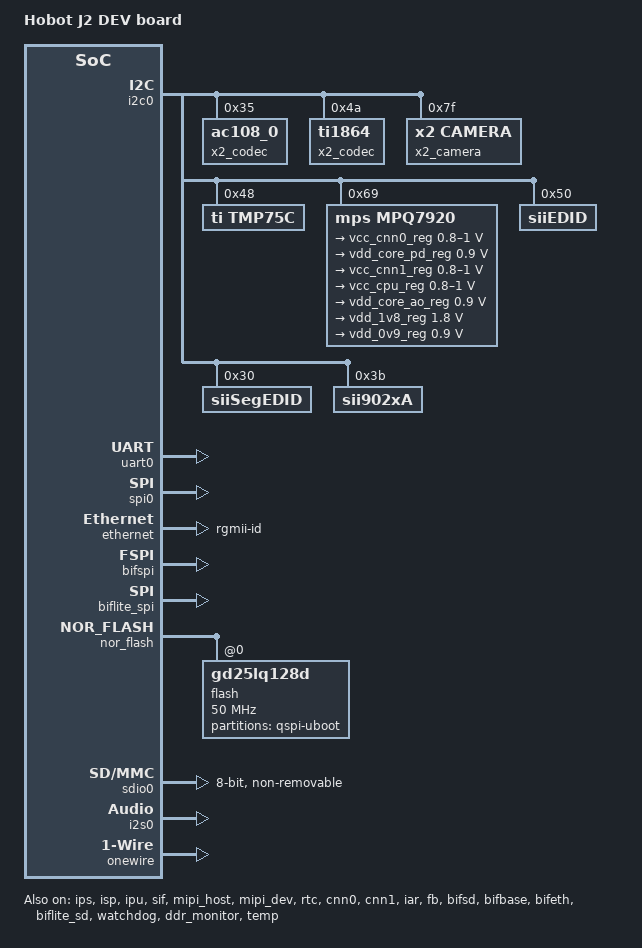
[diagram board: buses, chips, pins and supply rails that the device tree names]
/*
 * dts file for Hobot X2 FPGA
 *
 * (C) Copyright 2018, Horizon, Inc.
 *
 *
 * This program is free software; you can redistribute it and/or
 * modify it under the terms of the GNU General Public License as
 * published by the Free Software Foundation; either version 2 of
 * the License, or (at your option) any later version.
 */

/dts-v1/;
#include "hobot.dtsi"
#include "hobot-pinctrl.dtsi"
#include "hobot-clk.dtsi"
#include "memory.dtsi"
#include <dt-bindings/gpio/gpio.h>
#include <dt-bindings/phy/phy.h>

/ {
	reserved-memory {
		#address-cells = <2>;
		#size-cells = <2>;
		ranges;

		/*Reserved 4M memory for ipu problem*/
		ipu_nouse_reserved: ipu_nouse_reserved@0x00000000 {
			reg = <0x0 0x00000000 0x0 0x00400000>;
			no-map;
		};
		/*Reserved 8M memory for isp_subsystem*/
		isp_reserved: isp_reserved@0x02100000 {
			reg = <0x0 0x02100000 0x0 0x00800000>;
		};

		/*Reserved 32M memory for iar subsystem*/
		iar_reserved: iar_reserved@0x02900000 {
			reg = <0x0 0x02900000 0x0 0x2000000>;
			no-map;
		};

		/* Reserved 384MB memory for bpu+vio*/
		ion_reserved: ion_reserved@0x4900000 {
			compatible = "ion-pool";
			reg = <0x0 0x4900000 0x0 0x18000000>;
		};
	};
};


/ {
	model = "Hobot J2 DEV board";
	compatible = "hobot,x2-fpga";

	aliases {
		serial0 = &uart0;
		serial1 = &uart1;
		serial2 = &uart2;
		serial3 = &uart3;
		i2c0	= &i2c0;
		i2c1	= &i2c1;
		i2c2	= &i2c2;
		i2c3	= &i2c3;
		i2s0	= &i2s0;
		i2s1	= &i2s1;
		pwm0	= &pwm_0;
		pwm1	= &pwm_1;
		pwm2	= &pwm_2;
		spi0	= &spi0;
		bifsd	= &bifsd;
		bifspi	= &bifspi;
		mmc1	= &sdio0;
		mmc2	= &sdio1;
		sndcard0    = &snd0;
		idma0     = &i2sidma0;

	};

	chosen {
		bootargs = "earlycon loglevel=8 console=ttyS0 clk_ignore_unused";
		stdout-path = "serial0:115200n8";
	};

};

&i2c0 {
	status = "okay";
	#address-cells = <1>;
	#size-cells = <0>;
	x2_codec@0x35 {
		compatible = "ac108_0";
		reg = <0x35>;
	};

	x2_codec@0x4a {
		compatible = "ti1864";
		reg = <0x4a>;
	};


	x2_camera@0x7f {
	    compatible = "x2,camera";
	    reg = <0x7f>;
	};
	tmp75c@48 {
                compatible = "ti,tmp75c";
		reg = <0x48>;
	};
	mpq7920@69 {
		compatible = "mps,mpq7920";
		reg = <0x69>;
		regulators {
			vcc_cnn0_reg: DCDC1 {
				regulator-name = "VCC_CNN0";
				regulator-min-microvolt = <800000>;
				regulator-max-microvolt = <1000000>;
				regulator-enable-ramp-delay = <3000>;
				regulator-boot-on;
			};

			vdd_core_pd_reg: DCDC2 {
				regulator-name = "VDD_CORE_PD";
				regulator-min-microvolt = <900000>;
				regulator-max-microvolt = <900000>;
				regulator-always-on;
			};

			vcc_cnn1_reg: DCDC3 {
				regulator-name = "VCC_CNN1";
				regulator-min-microvolt = <800000>;
				regulator-max-microvolt = <1000000>;
				regulator-enable-ramp-delay = <3000>;
				regulator-boot-on;
			};

			vcc_cpu_reg: DCDC4 {
				regulator-name = "VCC_CPU";
				regulator-min-microvolt = <800000>;
				regulator-max-microvolt = <1000000>;
				regulator-always-on;
			};

			vdd_core_ao_reg: LDO3 {
				regulator-name = "VDD_CORE_AO";
				regulator-min-microvolt = <900000>;
				regulator-max-microvolt = <900000>;
				regulator-always-on;
			};

			vdd_1v8_reg: LDO4 {
				regulator-name = "VDD_1V8";
				regulator-min-microvolt = <1800000>;
				regulator-max-microvolt = <1800000>;
				regulator-always-on;
			};

			vdd_0v9_reg: LDO5 {
				regulator-name = "VDD_0V9";
				regulator-min-microvolt = <900000>;
				regulator-max-microvolt = <900000>;
				regulator-always-on;
			};
		};
	};
	siiEDID@0x50 {
		compatible = "siiEDID";
		reg = <0x50>;
	};
	siiSegEDID@0x30 {
		compatible = "siiSegEDID";
		reg = <0x30>;
	};
	sii902xA@0x3B {
		compatible = "sii902xA";
		reg = <0x3B>;
		rst_pin = <61>;
		irq_pin = <77>;
	};
};

&pinctrl {
	status = "okay";
	gpioirq-bank-cfg = <0x75 0 0 0>;
};

&uart0 {
	status = "okay";
	clocks = <&uart0_mclk>;
	clock-names = "uart_mclk";
};

&ips {
	pinctrl-names = "bt_func", "dvp_func";
	pinctrl-0 = <&btout_func>;
	pinctrl-1 = <&dvpout_func>;
	status = "okay";
};

&isp {
	status = "okay";
};

&ipu {
	status = "okay";
	slot_num = /bits/ 8 <8>;
	slot_size = <0x1000000>;
};

&sif {
	status = "okay";
};
&mipi_host {
	status = "okay";
};

&mipi_dev {
	status = "okay";
};

&dma {
	status = "okay";
};

&x2dmatest {
	status = "disabled";
};

&rtc {
	status = "okay";
};

&pwm_0 {
	status = "disabled";
};

&spi0 {
	status = "okay";
};

&ethernet {
	status = "okay";

	pinctrl-names = "default";
	pinctrl-0 = <&eth_func>;

	/* local-mac-address = [ 00 11 22 33 44 55 ]; */
	fixed-link = <0 1 1000 0 0>;
	phy-mode = "rgmii-id";
	mdio {
		#address-cells = <0x1>;
		#size-cells = <0x0>;
	};
};

&cpu0 {
	status = "okay";
	cnn0-supply = <&vcc_cpu_reg>;
};

&cnn0 {
	status = "okay";
	cnn-supply = <&vcc_cnn0_reg>;
};

&cnn1 {
	status = "okay";
	cnn-supply = <&vcc_cnn1_reg>;
};

&iar {
	status = "okay";
};

&fb {
	status = "okay";
};

&bifspi {
	status = "okay";
};

&bifsd {
	status = "okay";
	/*cd-gpio = <91>;*/
};
&bifbase {
	/*x2j2 bifbase: GPIO7[8]: 118, GPIO0[7]: 7*/
	status = "okay";
	bifbase_irq_pin = <0x75>;
	bifbase_tri_pin = <0x76>;
};

&bifeth {
	status = "okay";
};

&biflite_spi {
	status = "okay";
	frame_len_max = <262144>;
	frag_len_max = <1024>;
	frame_count = <4>;
};
&biflite_sd {
	status = "okay";
	frame_len_max = <262144>;
	frag_len_max = <32768>;
	frame_count = <12>;
};
&nor_flash {
	status = "okay";
	qspi-mode = <1>;
	#address-cells = <1>;
	#size-cells = <0>;

	flash@0 {
		compatible = "gd25lq128d";
		#address-cells = <1>;
		#size-cells = <1>;
		reg = <0x0>;
		spi-tx-bus-width = <4>;
		spi-rx-bus-width = <4>;
		spi-max-frequency = <50000000>;

		partition@qspi-uboot {
			label = "qspi-uboot";
			reg = <0x200000 0x200000>;
		};
	};
};

&sdio0 {
	status = "okay";
	bus-width = <8>;
	cap-mmc-highspeed;
	mmc-hs200-1_8v;
	non-removable;
	disable-wp;
};

&sdio1 {
	status = "disabled";
	bus-width = <4>;
	no-mmc;
	no-sdio;
	cap-sd-highspeed;
	sd-uhs-sdr12;
	sd-uhs-sdr25;
	sd-uhs-sdr50;
	sd-uhs-sdr104;
	powerup-gpio = <85>;
	uhs-180v-gpio = <86>;
	broken-cd;
	disable-wp;
};

&watchdog {
	status = "okay";
};

&i2s0 {
	status = "okay";
	clocks = <&i2s0_mclk>, <&i2s0_div_mclk>, <&i2s0_bclk>, <&i2s0_div_bclk>;
	clock-names = "i2s-mclk", "i2s-mclk-div", "i2s-bclk", "i2s0_div_bclk";
	bclk_set = <4096000>;
	slot_width= <256>;
};


&ddr_monitor {
	status = "okay";
};

&onewire {
	status = "okay";
};

&temp {
	status = "okay";
};

&soc_thermal {
	status = "okay";
};
